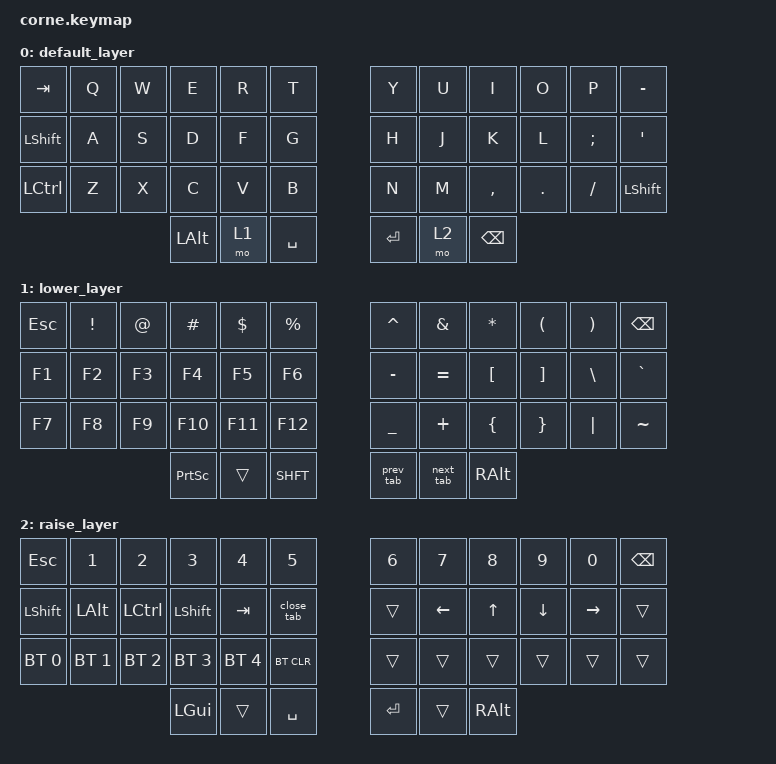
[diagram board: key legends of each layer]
/*
 * Copyright (c) 2020 The ZMK Contributors
 *
 * SPDX-License-Identifier: MIT
 */

#include <behaviors.dtsi>
#include <dt-bindings/zmk/keys.h>
#include <dt-bindings/zmk/bt.h>

/ {
        macros {
                close_tab: close_tab {
                        compatible = "zmk,behavior-macro";
                        #binding-cells = <0>;
                        bindings = <&macro_press &kp LCTRL>,
                                   <&macro_tap &kp W>,
                                   <&macro_release &kp LCTRL>;
                };
                next_tab: next_tab {
                        compatible = "zmk,behavior-macro";
                        #binding-cells = <0>;
                        bindings = <&macro_press &kp LCTRL>,
                                   <&macro_tap &kp TAB>,
                                   <&macro_release &kp LCTRL>;
                };
                prev_tab: prev_tab {
                        compatible = "zmk,behavior-macro";
                        #binding-cells = <0>;
                        bindings = <&macro_press &kp LCTRL>, <&macro_press &kp LSHFT>,
                                   <&macro_tap &kp TAB>,
                                   <&macro_release &kp LCTRL>, <&macro_release &kp LSHFT>;
                };
        };

        keymap {
                compatible = "zmk,keymap";

                default_layer {
// -----------------------------------------------------------------------------------------
// |  TAB |  Q  |  W  |   E  |  R  |  T  |   |  Y  |  U   |  I  |  O  |  P  |    - |
// | CTRL |  A  |  S  |   D  |  F  |  G  |   |  H  |  J   |  K  |  L  |  ;  |    ' |
// | SHFT |  Z  |  X  |   C  |  V  |  B  |   |  N  |  M   |  ,  |  .  |  /  | SHFT |
//                    | LALT | LWR | SPC |   | ENT | RSE  | BKSP |

                        bindings = <
&kp TAB   &kp Q &kp W &kp E    &kp R &kp T       &kp Y   &kp U  &kp I     &kp O   &kp P    &kp MINUS
&kp LSHFT &kp A &kp S &kp D    &kp F &kp G       &kp H   &kp J  &kp K     &kp L   &kp SEMI &kp SQT
&kp LCTRL &kp Z &kp X &kp C    &kp V &kp B       &kp N   &kp M  &kp COMMA &kp DOT &kp FSLH &kp LSHFT
                      &kp LALT &mo 1 &kp SPACE   &kp RET &mo 2  &kp BSPC
                        >;
                };
                lower_layer {
// -----------------------------------------------------------------------------------------
// | ESC |  ! |  @ |     # |   $ |    % |   |    ^ |    & |   * |  (  |  )  | BKSP |
// |  F1 | F2 | F3 |    F4 |  F5 |   F6 |   |    - |    = |   [ |  ]  |  \  |    ` |
// |  F7 | F8 | F9 |   F10 | F11 |  F12 |   |    _ |    + |   { |  }  | "|" |    ~ |
//                 | PSCRN |  X  | SHFT |   | PTAB | NTAB | ALT |

                        bindings = <
&kp ESC &kp EXCL &kp AT &kp HASH  &kp DLLR &kp PRCNT   &kp CARET &kp AMPS  &kp ASTRK &kp LPAR &kp RPAR &kp BSPC
&kp F1  &kp F2   &kp F3 &kp F4    &kp F5   &kp F6      &kp MINUS &kp EQUAL &kp LBKT  &kp RBKT &kp BSLH &kp GRAVE
&kp F7  &kp F8   &kp F9 &kp F10   &kp F11  &kp F12     &kp UNDER &kp PLUS  &kp LBRC  &kp RBRC &kp PIPE &kp TILDE
                        &kp PSCRN &trans   &kp SHFT    &prev_tab &next_tab &kp RALT
                        >;
                };
                raise_layer {
// -----------------------------------------------------------------------------------------
// |  ESC |  1  |   2  |   3  |  4  |     5 |   |  6  |  7  |  8  |  9  |  0  | BKSP |
// | SHFT | ALT | CTRL | SHFT | TAB |  CLTB |   |     | LFT | DWN |  UP | RGT |      |
// |  BT1 | BT2 |  BT3 |  BT4 | BT5 | BTCLR |   |     |     |     |     |     |      |
//                     |  GUI |     |   SPC |   | ENT |  X  | ALT |

                        bindings = <
&kp ESC      &kp N1       &kp N2       &kp N3       &kp N4       &kp N5       &kp N6  &kp N7   &kp N8   &kp N9   &kp N0    &kp BSPC
&kp LSHFT    &kp LALT     &kp LCTRL    &kp LSHFT    &kp TAB      &close_tab   &trans  &kp LEFT &kp UP   &kp DOWN &kp RIGHT &trans
&bt BT_SEL 0 &bt BT_SEL 1 &bt BT_SEL 2 &bt BT_SEL 3 &bt BT_SEL 4 &bt BT_CLR   &trans  &trans   &trans   &trans   &trans    &trans
                                       &kp LGUI     &trans       &kp SPACE    &kp RET &trans   &kp RALT
                        >;
                };
        };
};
